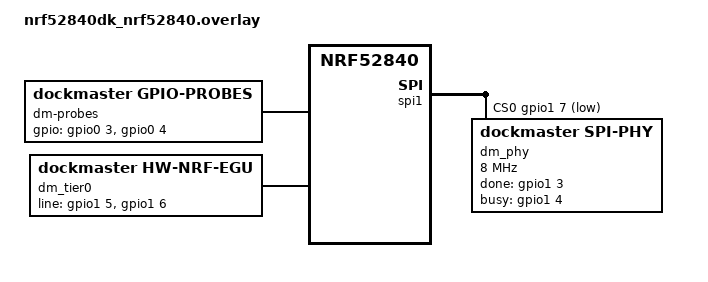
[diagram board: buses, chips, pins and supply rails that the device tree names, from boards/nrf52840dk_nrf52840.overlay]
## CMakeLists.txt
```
# Copyright (c) 2026 Nurzaman
# SPDX-License-Identifier: Apache-2.0

cmake_minimum_required(VERSION 3.20.0)
find_package(Zephyr REQUIRED HINTS $ENV{ZEPHYR_BASE})
project(dk_spi_phy_edca)

target_sources(app PRIVATE src/main.c)
```

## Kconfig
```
# Copyright (c) 2026 Nurzaman
# SPDX-License-Identifier: Apache-2.0

mainmenu "Dockmaster SPI PHY hardware labs"

config APP_C4_PERIOD_MS
	int "Period of the bulk (C4) producer in ms"
	default 20
	help
	  Lab 2 runs two boards with the same period. With CONFIG_DM_EDCA
	  the default C4 AIFS and contention window (50 ms, 0 to 400 ms)
	  bound C4 to a few frames per second, so pick a period above the
	  mean EDCA wait when comparing collision rates at equal offered load.

config APP_C4_LEN
	int "C4 payload length in bytes"
	default 64
	range 1 240

config APP_C0_PERIOD_MS
	int "Period of the control (C0) injection in ms"
	default 1000

config APP_REPORT_PERIOD_S
	int "Seconds between counter and stack reports"
	default 10

source "Kconfig.zephyr"
```

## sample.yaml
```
sample:
  name: Dockmaster SPI PHY hardware labs
  description: >
    External PHY on SPI with tier 0 class lines (PPI + EGU), GPIO probe
    points and the thread analyzer, for hardware labs 1 to 3 of the spec.
    Not run on hardware yet.
common:
  tags: dockmaster
  build_only: true
  platform_allow:
    - nrf52840dk/nrf52840
  integration_platforms:
    - nrf52840dk/nrf52840
tests:
  sample.dockmaster.dk_spi_phy_edca: {}
  sample.dockmaster.dk_spi_phy_edca.sw_edca:
    extra_args:
      - EXTRA_DTC_OVERLAY_FILE=edca.overlay
  sample.dockmaster.dk_spi_phy_edca.lab3:
    extra_args:
      - EXTRA_DTC_OVERLAY_FILE=lab3.overlay
```

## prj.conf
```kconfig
CONFIG_DOCKMASTER=y
CONFIG_SPI=y
CONFIG_GPIO=y

# Tier 0 backend (PPI + EGU) and the two logic-analyser probe pins.
CONFIG_DM_TIER_HW_NRF=y
CONFIG_DM_GPIO_PROBES=y

# Spec section 15: prove the stack sizes on target.
CONFIG_THREAD_ANALYZER=y
CONFIG_THREAD_NAME=y

CONFIG_LOG=y
CONFIG_DM_LOG_LEVEL_INF=y
CONFIG_MAIN_STACK_SIZE=1536
CONFIG_MAIN_THREAD_PRIORITY=8
CONFIG_ASSERT=y
```

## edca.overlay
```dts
/*
 * Copyright (c) 2026 Nurzaman
 * SPDX-License-Identifier: Apache-2.0
 *
 * Lab 2: the same PHY as tier "sw", so the owner thread runs sw-EDCA on
 * the busy pin before every frame (tier 0 bypasses sw-EDCA).
 */

&dm_phy {
	tier = "sw";
	/delete-property/ class-line-pins;
	/delete-property/ hw-backend;
};
```

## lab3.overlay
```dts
/*
 * Copyright (c) 2026 Nurzaman
 * SPDX-License-Identifier: Apache-2.0
 *
 * Lab 3 stimulus: main() pulses P0.28 (A2) every 100 ms. Jumper A2 to
 * both class-line inputs (D4 and D5) with the PHY's outputs 1 and 2
 * disconnected, so one edge raises both EGU events in the same cycle.
 */

#include <zephyr/dt-bindings/gpio/gpio.h>

/ {
	zephyr,user {
		lab3-stim-gpios = <&gpio0 28 GPIO_ACTIVE_HIGH>;
	};
};
```

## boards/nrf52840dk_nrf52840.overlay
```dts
/*
 * Copyright (c) 2026 Nurzaman
 * SPDX-License-Identifier: Apache-2.0
 *
 * External PHY on spi1 of the nRF52840 DK. All signals are on the Arduino
 * header (3.3 V logic):
 *
 *   PHY SCK                P0.31  A5   spi1 default pinctrl
 *   PHY MOSI               P0.30  A4   spi1 default pinctrl
 *   PHY MISO               P1.08  D7   spi1 default pinctrl
 *   PHY CS                 P1.07  D6   active low
 *   PHY done (output 0)    P1.03  D2   tier "sw" completion
 *   PHY busy               P1.04  D3   high while the channel is busy
 *   PHY output 1           P1.05  D4   class line 0 (C0-C2), tier 0
 *   PHY output 2           P1.06  D5   class line 1 (C3-C4), tier 0
 *   probe A                P0.03  A0   completion in ISR (logic analyser)
 *   probe B                P0.04  A1   owner thread tx (logic analyser)
 *
 * None of these pins is used by the DK's LEDs, buttons, console UART,
 * QSPI flash or the other enabled buses (spi3 uses P1.12 to P1.15).
 * EGU2 and EGU3 are free here; the 802.15.4 radio driver would take EGU0.
 */

#include <zephyr/dt-bindings/gpio/gpio.h>

/ {
	dm-probes {
		compatible = "dockmaster,gpio-probes";
		gpios = <&gpio0 3 GPIO_ACTIVE_HIGH>, <&gpio0 4 GPIO_ACTIVE_HIGH>;
	};

	dm_tier0: dm-tier0 {
		compatible = "dockmaster,hw-nrf-egu";
		egu-instances = <2 3>;
		gpiote-channels = <6 7>;
		line-gpios = <&gpio1 5 GPIO_ACTIVE_HIGH>, <&gpio1 6 GPIO_ACTIVE_HIGH>;
	};
};

&spi1 {
	status = "okay";
	cs-gpios = <&gpio1 7 GPIO_ACTIVE_LOW>;

	dm_phy: dm-phy@0 {
		compatible = "dockmaster,spi-phy";
		reg = <0>;
		spi-max-frequency = <8000000>;
		done-gpios = <&gpio1 3 GPIO_ACTIVE_HIGH>;
		busy-gpios = <&gpio1 4 GPIO_ACTIVE_HIGH>;
		bitrate-bps = <250000>;
		preamble-us = <160>;
		turnaround-us = <192>;
		tier = "hw";
		class-line-pins = <1 2>;
		hw-backend = <&dm_tier0>;
	};
};
```

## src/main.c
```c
/*
 * Copyright (c) 2026 Nurzaman
 * SPDX-License-Identifier: Apache-2.0
 *
 * Hardware lab sample (spec section 15, labs 1 to 3) for one external PHY
 * on SPI. A bulk producer keeps C4 busy at a fixed period, a control
 * producer injects one C0 message per CONFIG_APP_C0_PERIOD_MS, and every
 * CONFIG_APP_REPORT_PERIOD_S the sample prints the Dockmaster counters and
 * the thread analyzer's stack report. With lab3.overlay it also pulses a
 * stimulus pin that drives both tier 0 class lines at once.
 *
 * This sample builds in CI but has not been run on hardware yet.
 */

#include <string.h>

#include <zephyr/kernel.h>
#include <zephyr/debug/thread_analyzer.h>
#include <zephyr/drivers/gpio.h>
#include <zephyr/sys/byteorder.h>

#include <dockmaster/dm.h>
#include <dockmaster/dm_link.h>

#define TICK_MS     CONFIG_APP_C4_PERIOD_MS
#define REPORT_MS   (CONFIG_APP_REPORT_PERIOD_S * 1000U)
#define STIM_MS     100U

#if DT_NODE_HAS_PROP(DT_PATH(zephyr_user), lab3_stim_gpios)
#define HAVE_STIM 1
static const struct gpio_dt_spec stim = GPIO_DT_SPEC_GET(DT_PATH(zephyr_user), lab3_stim_gpios);
#endif

/* Static: a dm_stats snapshot is several hundred bytes. */
static struct dm_stats s;

static void report(void)
{
	static const dm_class_t shown[] = {DM_C0, DM_C4};

	dm_stats_get(&s);
	for (size_t i = 0; i < ARRAY_SIZE(shown); i++) {
		const struct dm_class_stats *k = &s.cls[shown[i]];

		printk("C%d submitted %u refused %u sent %u failed %u shed %u airtime %u ms\n",
		       shown[i], k->submitted, k->refused, k->sent, k->failed, k->dropped_shed,
		       k->airtime_ms_used);
	}
	for (uint8_t l = 0; l < dm_link_count(); l++) {
		const struct dm_link_stats *k = &s.link[l];

		printk("link %u tier %u: tx_ok %u tx_fail %u faults %u edca_wait %u ms\n", l,
		       k->cur_tier, k->tx_ok, k->tx_fail, k->faults, k->busy_wait_ms);
	}
	printk("scheduler rounds %u, longest %u us, c0_lost %u\n", s.sched_rounds,
	       s.sched_max_us, s.c0_lost);
	thread_analyzer_print(0);
}

int main(void)
{
	uint8_t c4[CONFIG_APP_C4_LEN];
	uint8_t c0[8] = {0};
	uint32_t seq = 0U;

	if (dm_link_count() == 0U) {
		printk("no link registered: check the PHY node and the SPI bus\n");
		return 0;
	}
#ifdef HAVE_STIM
	if (gpio_pin_configure_dt(&stim, GPIO_OUTPUT_INACTIVE) != 0) {
		printk("stimulus pin unavailable\n");
		return 0;
	}
#endif
	printk("dk_spi_phy_edca: C4 every %u ms, C0 every %u ms\n", CONFIG_APP_C4_PERIOD_MS,
	       CONFIG_APP_C0_PERIOD_MS);

	for (uint32_t t = 0U;; t += TICK_MS) {
		memset(c4, 0xA5, sizeof(c4));
		sys_put_le32(seq++, c4);
		(void)dm_submit(DM_C4, c4, sizeof(c4), DM_F_RESUMABLE, NULL);

		if (t % CONFIG_APP_C0_PERIOD_MS < TICK_MS) {
			sys_put_le32(seq++, c0);
			(void)dm_submit(DM_C0, c0, sizeof(c0), 0U, NULL);
		}
#ifdef HAVE_STIM
		if (t % STIM_MS < TICK_MS) {
			/* One rising edge on both class lines: both EGU events in one cycle. */
			(void)gpio_pin_set_dt(&stim, 1);
			(void)gpio_pin_set_dt(&stim, 0);
		}
#endif
		if (t % REPORT_MS < TICK_MS && t != 0U) {
			report();
		}
		k_msleep(TICK_MS);
	}
	return 0;
}
```
